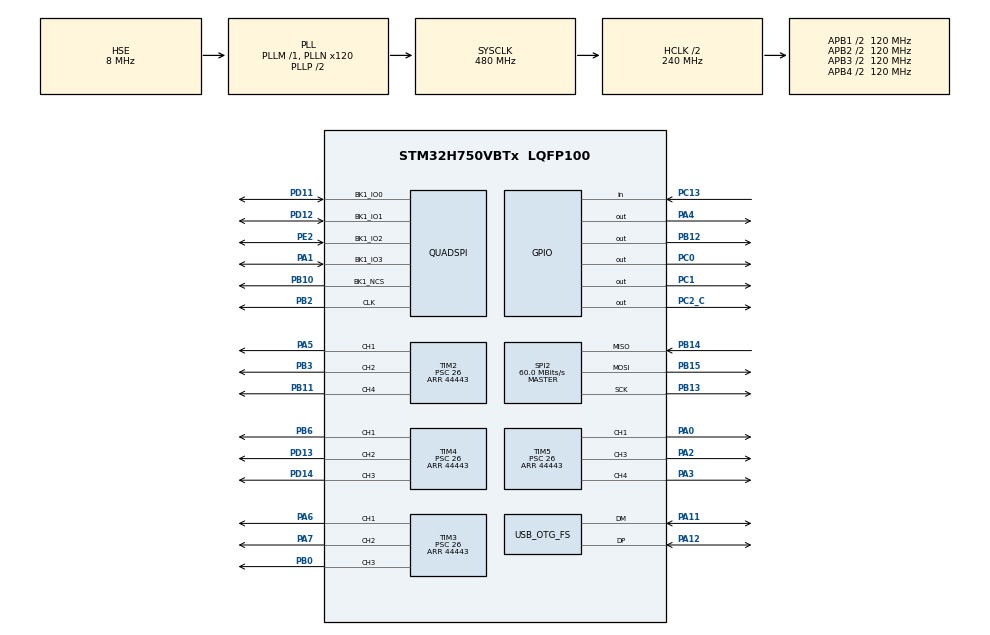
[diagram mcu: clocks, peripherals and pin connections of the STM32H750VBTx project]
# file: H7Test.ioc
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Mcu.Family=STM32H7
VP_TIM5_VS_ClockSourceINT.Mode=Internal
FREERTOS.Queues01=portRawDataRx,2048,uint8_t,0,Static,portRawDataRxBuffer,portRawDataRxControlBlock;cmdPacketRx,16,64,1,Static,cmdPacketRxBuffer,cmdPacketRxControlBlock;cmdPacketTx,16,64,1,Static,cmdPacketTxBuffer,cmdPacketTxControlBlock;portRawDataTx,2048,uint8_t,0,Static,portRawDataTxBuffer,portRawDataTxControlBlock;cmdPacketRxInstant,16,64,1,Static,cmdPacketRxInstantBuffer,cmdPacketRxInstantControlBlock
USB_DEVICE.CLASS_NAME_FS=CDC
VP_SYS_VS_tim6.Mode=TIM6
RCC.CortexFreq_Value=480000000
SPI2.VirtualType=VM_MASTER
PB10.Mode=Single Bank 1
RCC.HPRE=RCC_HCLK_DIV2
NVIC.TIM6_DAC_IRQn=true\:0\:0\:false\:false\:true\:false\:false\:true
PH0-OSC_IN\ (PH0).Signal=RCC_OSC_IN
PA11.Mode=Device_Only
USB_DEVICE.VirtualMode-CDC_FS=Cdc
TIM5.OCPolarity_3=TIM_OCPOLARITY_LOW
TIM5.OCPolarity_4=TIM_OCPOLARITY_LOW
TIM2.Channel-PWM\ Generation2\ CH2=TIM_CHANNEL_2
PB11.Signal=S_TIM2_CH4
PB13.Signal=SPI2_SCK
PB15.Signal=SPI2_MOSI
RCC.SYSCLKSource=RCC_SYSCLKSOURCE_PLLCLK
ProjectManager.StackSize=0x800
TIM5.OCPolarity_1=TIM_OCPOLARITY_LOW
VP_FREERTOS_VS_CMSIS_V2.Mode=CMSIS_V2
PD13.Signal=S_TIM4_CH2
PA14\ (JTCK/SWCLK).Signal=DEBUG_JTCK-SWCLK
PA12.Signal=USB_OTG_FS_DP
SPI2.CLKPolarity=SPI_POLARITY_HIGH
NVIC.TIM5_IRQn=true\:5\:0\:false\:false\:true\:true\:true\:true
RCC.HCLKFreq_Value=240000000
PE2.Mode=Single Bank 1
TIM3.Period=44443
PB6.Signal=S_TIM4_CH1
SH.S_TIM5_CH3.0=TIM5_CH3,PWM Generation3 CH3
PC2_C.Signal=GPIO_Output
SPI2.BaudRatePrescaler=SPI_BAUDRATEPRESCALER_8
TIM3.Channel-PWM\ Generation1\ CH1=TIM_CHANNEL_1
PH1-OSC_OUT\ (PH1).Mode=HSE-External-Oscillator
RCC.HSE_VALUE=8000000
TIM4.Channel-PWM\ Generation3\ CH3=TIM_CHANNEL_3
PB2.Signal=QUADSPI_CLK
RCC.DIVM3=1
RCC.DIVM2=10
RCC.DIVM1=1
TIM5.Channel-PWM\ Generation4\ CH4=TIM_CHANNEL_4
PB14.Mode=Full_Duplex_Master
TIM3.Prescaler=26
NVIC.TIM2_IRQn=true\:5\:0\:false\:false\:true\:true\:true\:true
PC13.GPIO_PuPd=GPIO_PULLUP
SPI2.CalculateBaudRate=60.0 MBits/s
SH.S_TIM4_CH2.0=TIM4_CH2,PWM Generation2 CH2
PE2.Signal=QUADSPI_BK1_IO2
PA14\ (JTCK/SWCLK).Mode=Serial_Wire
TIM2.Channel-PWM\ Generation1\ CH1=TIM_CHANNEL_1
SH.S_TIM3_CH1.0=TIM3_CH1,PWM Generation1 CH1
TIM4.Period=44443
PA0.Signal=S_TIM5_CH1
RCC.APB3Freq_Value=120000000
TIM3.OCPolarity_1=TIM_OCPOLARITY_LOW
TIM3.OCPolarity_2=TIM_OCPOLARITY_LOW
TIM3.OCPolarity_3=TIM_OCPOLARITY_LOW
Mcu.Package=LQFP100
TIM2.Prescaler=26
PA6.Signal=S_TIM3_CH1
NVIC.TimeBase=TIM6_DAC_IRQn
SPI2.Mode=SPI_MODE_MASTER
RCC.D1PPRE=RCC_APB3_DIV2
PD12.Signal=QUADSPI_BK1_IO1
NVIC.OTG_FS_IRQn=true\:5\:0\:false\:false\:true\:true\:false\:true
NVIC.TimeBaseIP=TIM6
USB_OTG_FS.VirtualMode=Device_Only
SPI2.CLKPhase=SPI_PHASE_2EDGE
TIM2.Pulse-PWM\ Generation2\ CH2=1347
SH.S_TIM4_CH1.0=TIM4_CH1,PWM Generation1 CH1
RCC.APB4Freq_Value=120000000
SH.S_TIM5_CH1.0=TIM5_CH1,PWM Generation1 CH1
SPI2.Direction=SPI_DIRECTION_2LINES
PB13.Mode=Full_Duplex_Master
PH0-OSC_IN\ (PH0).Mode=HSE-External-Oscillator
VP_TIM3_VS_ClockSourceINT.Mode=Internal
PA3.Signal=S_TIM5_CH4
RCC.PLLSourceVirtual=RCC_PLLSOURCE_HSE
TIM4.Channel-PWM\ Generation1\ CH1=TIM_CHANNEL_1
TIM2.Channel-PWM\ Generation4\ CH4=TIM_CHANNEL_4
RCC.DIVQ3=20
SH.S_TIM2_CH1.0=TIM2_CH1,PWM Generation1 CH1
FREERTOS.Tasks01=commandTask,24,256,StartCommandTask,Default,NULL,Dynamic,NULL,NULL;AlgsTask,48,512,StartAlgsTask,Default,NULL,Dynamic,NULL,NULL;RawSendTask,40,512,StartRawSendTask,Default,NULL,Dynamic,NULL,NULL
PA13\ (JTMS/SWDIO).Mode=Serial_Wire
USB_DEVICE.VirtualModeFS=Cdc_FS
PC13.Signal=GPIO_Input
RCC.D2PPRE2=RCC_APB2_DIV2
RCC.D2PPRE1=RCC_APB1_DIV2
TIM5.Channel-PWM\ Generation3\ CH3=TIM_CHANNEL_3
TIM2.OCPolarity_4=TIM_OCPOLARITY_LOW
PC0.Signal=GPIO_Output
TIM2.OCPolarity_1=TIM_OCPOLARITY_LOW
TIM2.OCPolarity_2=TIM_OCPOLARITY_LOW
SH.S_TIM3_CH3.0=TIM3_CH3,PWM Generation3 CH3
PH1-OSC_OUT\ (PH1).Signal=RCC_OSC_OUT
TIM2.Pulse-PWM\ Generation1\ CH1=1347
FREERTOS.configUSE_IDLE_HOOK=1
TIM3.Channel-PWM\ Generation3\ CH3=TIM_CHANNEL_3
CRC.DefaultPolynomialUse=DEFAULT_POLYNOMIAL_DISABLE
SH.S_TIM2_CH2.0=TIM2_CH2,PWM Generation2 CH2
PB3\ (JTDO/TRACESWO).Signal=S_TIM2_CH2
ProjectManager.TargetToolchain=MDK-ARM V5
SPI2.CRCCalculation=SPI_CRCCALCULATION_DISABLE
SH.S_TIM4_CH3.0=TIM4_CH3,PWM Generation3 CH3
VP_USB_DEVICE_VS_USB_DEVICE_CDC_FS.Mode=CDC_FS
RCC.DIVN3=120
RCC.DIVN2=120
RCC.DIVN1=120
RCC.USBFreq_Value=48000000
TIM4.Prescaler=26
PA1.Signal=QUADSPI_BK1_IO3
PB10.Signal=QUADSPI_BK1_NCS
PB14.Signal=SPI2_MISO
RCC.USBCLockSelection=RCC_USBCLKSOURCE_PLL3
PA5.Signal=S_TIM2_CH1
SH.S_TIM3_CH2.0=TIM3_CH2,PWM Generation2 CH2
board=custom
PB15.Mode=Full_Duplex_Master
NVIC.TIM3_IRQn=true\:5\:0\:false\:false\:true\:true\:true\:true
TIM4.Channel-PWM\ Generation2\ CH2=TIM_CHANNEL_2
RCC.APB2Freq_Value=120000000
PA1.Mode=Single Bank 1
VP_TIM2_VS_ClockSourceINT.Mode=Internal
RCC.ADCFreq_Value=48000000
SH.S_TIM5_CH4.0=TIM5_CH4,PWM Generation4 CH4
TIM2.Period=44443
Mcu.Name=STM32H750VBTx
TIM4.OCPolarity_3=TIM_OCPOLARITY_LOW
PA2.Signal=S_TIM5_CH3
TIM4.OCPolarity_1=TIM_OCPOLARITY_LOW
TIM4.OCPolarity_2=TIM_OCPOLARITY_LOW
PD14.Signal=S_TIM4_CH3
PA4.Signal=GPIO_Output
RCC.SYSCLKFreq_VALUE=480000000
PD12.Mode=Single Bank 1
PA12.Mode=Device_Only
TIM5.Prescaler=26
PD11.Signal=QUADSPI_BK1_IO0
CRC.DefaultInitValueUse=DEFAULT_INIT_VALUE_DISABLE
PB2.Mode=Single Bank 1
PA11.Signal=USB_OTG_FS_DM
TIM5.Channel-PWM\ Generation1\ CH1=TIM_CHANNEL_1
ProjectManager.HeapSize=0x800
SH.S_TIM2_CH4.0=TIM2_CH4,PWM Generation4 CH4
PD11.Mode=Single Bank 1
VP_TIM4_VS_ClockSourceINT.Mode=Internal
FREERTOS.Mutexes01=portRawDataMutex,Dynamic,NULL
NVIC.PriorityGroup=NVIC_PRIORITYGROUP_4
TIM3.Channel-PWM\ Generation2\ CH2=TIM_CHANNEL_2
TIM2.AutoReloadPreload=TIM_AUTORELOAD_PRELOAD_DISABLE
RCC.D3PPRE=RCC_APB4_DIV2
TIM5.Period=44443
SPI2.DataSize=SPI_DATASIZE_8BIT
NVIC.TIM4_IRQn=true\:5\:0\:false\:false\:true\:true\:true\:true
RCC.APB1Freq_Value=120000000
VP_CRC_VS_CRC.Mode=CRC_Activate
PB0.Signal=S_TIM3_CH3
PC1.Signal=GPIO_Output
PB12.Signal=GPIO_Output
PA13\ (JTMS/SWDIO).Signal=DEBUG_JTMS-SWDIO
CRC.CRCLength=CRC_POLYLENGTH_16B
PA7.Signal=S_TIM3_CH2

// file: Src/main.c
/* USER CODE BEGIN Header */
/**
  ******************************************************************************
  * @file           : main.c
  * @brief          : Main program body
  ******************************************************************************
  * @attention
  *
  * <h2><center>&copy; Copyright (c) 2020 STMicroelectronics.
  * All rights reserved.</center></h2>
  *
  * This software component is licensed by ST under BSD 3-Clause license,
  * the "License"; You may not use this file except in compliance with the
  * License. You may obtain a copy of the License at:
  *                        opensource.org/licenses/BSD-3-Clause
  *
  ******************************************************************************
  */
/* USER CODE END Header */

#include "main.h"
#include "cmsis_os.h"
#include "crc.h"
#include "quadspi.h"
#include "spi.h"
#include "tim.h"
#include "usb_device.h"
#include "gpio.h"

/* USER CODE BEGIN Includes */
#include "w25qxx.h"
/* USER CODE END Includes */

/* USER CODE BEGIN PV */
uint8_t cdcSendBuffer[200] = {0};
/* USER CODE END PV */

void SystemClock_Config(void);
void MX_FREERTOS_Init(void);

/* USER CODE BEGIN 0 */
uint32_t angle2arr(float angle)
{
  float temp = angle/180.0*2000;
  temp += 500.0;
  return (uint32_t)(temp/1.1125);
}
/* USER CODE END 0 */

int main(void)
{
  /* USER CODE BEGIN 1 */
  #ifdef ON_QFLSH
  SCB->VTOR = QSPI_BASE;
  #endif
  uint32_t test1 = 0, test2 = 0;
  /* Enable I-Cache---------------------------------------------------------*/
  SCB_EnableICache();

  /* Enable D-Cache---------------------------------------------------------*/
  SCB_EnableDCache();

  /* USER CODE END 1 */

  /* MCU Configuration--------------------------------------------------------*/

  /* Reset of all peripherals, Initializes the Flash interface and the Systick. */
  HAL_Init();

  /* Configure the system clock */
  SystemClock_Config();

  /* Initialize all configured peripherals */
  MX_GPIO_Init();
  MX_TIM2_Init();
  MX_CRC_Init();
  MX_SPI2_Init();
  MX_TIM3_Init();
  MX_TIM4_Init();
  MX_TIM5_Init();
  // MX_QUADSPI_Init();
  /* USER CODE BEGIN 2 */
  W25QXX_Init();
  W25QXX_Write_Enable();
  W25QXX_Read((uint8_t*)&test1, 4096, sizeof(test1));
  test2 = 0xABCDEF12;
  W25QXX_Write((uint8_t*)&test2, 4096, sizeof(test2));
  W25QXX_Read((uint8_t*)&test1, 4096, sizeof(test1));
  /* USER CODE END 2 */

  /* Init scheduler */
  osKernelInitialize();  /* Call init function for freertos objects (in freertos.c) */
  MX_FREERTOS_Init();
  /* Start scheduler */
  osKernelStart();

  /* We should never get here as control is now taken by the scheduler */
  /* Infinite loop */
  while (1)
  {

  }
}

void SystemClock_Config(void)
{
  RCC_OscInitTypeDef RCC_OscInitStruct = {0};
  RCC_ClkInitTypeDef RCC_ClkInitStruct = {0};
  RCC_PeriphCLKInitTypeDef PeriphClkInitStruct = {0};

  /** Supply configuration update enable
  */
  HAL_PWREx_ConfigSupply(PWR_LDO_SUPPLY);
  /** Configure the main internal regulator output voltage
  */
  __HAL_PWR_VOLTAGESCALING_CONFIG(PWR_REGULATOR_VOLTAGE_SCALE0);

  while(!__HAL_PWR_GET_FLAG(PWR_FLAG_VOSRDY)) {}
  /** Macro to configure the PLL clock source
  */
  __HAL_RCC_PLL_PLLSOURCE_CONFIG(RCC_PLLSOURCE_HSE);
  /** Initializes the CPU, AHB and APB busses clocks
  */
  RCC_OscInitStruct.OscillatorType = RCC_OSCILLATORTYPE_HSE;
  RCC_OscInitStruct.HSEState = RCC_HSE_ON;
  RCC_OscInitStruct.PLL.PLLState = RCC_PLL_ON;
  RCC_OscInitStruct.PLL.PLLSource = RCC_PLLSOURCE_HSE;
  RCC_OscInitStruct.PLL.PLLM = 1;
  RCC_OscInitStruct.PLL.PLLN = 120;
  RCC_OscInitStruct.PLL.PLLP = 2;
  RCC_OscInitStruct.PLL.PLLQ = 2;
  RCC_OscInitStruct.PLL.PLLR = 2;
  RCC_OscInitStruct.PLL.PLLRGE = RCC_PLL1VCIRANGE_3;
  RCC_OscInitStruct.PLL.PLLVCOSEL = RCC_PLL1VCOWIDE;
  RCC_OscInitStruct.PLL.PLLFRACN = 0;
  if (HAL_RCC_OscConfig(&RCC_OscInitStruct) != HAL_OK)
  {
    Error_Handler();
  }
  /** Initializes the CPU, AHB and APB busses clocks
  */
  RCC_ClkInitStruct.ClockType = RCC_CLOCKTYPE_HCLK|RCC_CLOCKTYPE_SYSCLK
                              |RCC_CLOCKTYPE_PCLK1|RCC_CLOCKTYPE_PCLK2
                              |RCC_CLOCKTYPE_D3PCLK1|RCC_CLOCKTYPE_D1PCLK1;
  RCC_ClkInitStruct.SYSCLKSource = RCC_SYSCLKSOURCE_PLLCLK;
  RCC_ClkInitStruct.SYSCLKDivider = RCC_SYSCLK_DIV1;
  RCC_ClkInitStruct.AHBCLKDivider = RCC_HCLK_DIV2;
  RCC_ClkInitStruct.APB3CLKDivider = RCC_APB3_DIV2;
  RCC_ClkInitStruct.APB1CLKDivider = RCC_APB1_DIV2;
  RCC_ClkInitStruct.APB2CLKDivider = RCC_APB2_DIV2;
  RCC_ClkInitStruct.APB4CLKDivider = RCC_APB4_DIV2;

  if (HAL_RCC_ClockConfig(&RCC_ClkInitStruct, FLASH_LATENCY_4) != HAL_OK)
  {
    Error_Handler();
  }
  PeriphClkInitStruct.PeriphClockSelection = RCC_PERIPHCLK_SPI2|RCC_PERIPHCLK_USB
                              |RCC_PERIPHCLK_QSPI;
  PeriphClkInitStruct.PLL3.PLL3M = 1;
  PeriphClkInitStruct.PLL3.PLL3N = 120;
  PeriphClkInitStruct.PLL3.PLL3P = 2;
  PeriphClkInitStruct.PLL3.PLL3Q = 20;
  PeriphClkInitStruct.PLL3.PLL3R = 2;
  PeriphClkInitStruct.PLL3.PLL3RGE = RCC_PLL3VCIRANGE_3;
  PeriphClkInitStruct.PLL3.PLL3VCOSEL = RCC_PLL3VCOWIDE;
  PeriphClkInitStruct.PLL3.PLL3FRACN = 0;
  PeriphClkInitStruct.QspiClockSelection = RCC_QSPICLKSOURCE_D1HCLK;
  PeriphClkInitStruct.Spi123ClockSelection = RCC_SPI123CLKSOURCE_PLL;
  PeriphClkInitStruct.UsbClockSelection = RCC_USBCLKSOURCE_PLL3;
  if (HAL_RCCEx_PeriphCLKConfig(&PeriphClkInitStruct) != HAL_OK)
  {
    Error_Handler();
  }
  /** Enable USB Voltage detector
  */
  HAL_PWREx_EnableUSBVoltageDetector();
}

 /**
  * @brief  Period elapsed callback in non blocking mode
  * @note   This function is called  when TIM6 interrupt took place, inside
  * HAL_TIM_IRQHandler(). It makes a direct call to HAL_IncTick() to increment
  * a global variable "uwTick" used as application time base.
  * @param  htim : TIM handle
  * @retval None
  */
void HAL_TIM_PeriodElapsedCallback(TIM_HandleTypeDef *htim)
{
  if (htim->Instance == TIM6) {
    HAL_IncTick();
  }
  /* USER CODE BEGIN Callback 1 */
  else if(htim->Instance == TIM2)
  {
    jointServoOutput(0);
  }
  else if(htim->Instance == TIM3)
  {
    jointServoOutput(1);
  }
  else if(htim->Instance == TIM4)
  {
    jointServoOutput(2);
  }
  else if(htim->Instance == TIM5)
  {
    jointServoOutput(3);
  }
  /* USER CODE END Callback 1 */
}

void Error_Handler(void)
{
}

/************************ (C) COPYRIGHT STMicroelectronics *****END OF FILE****/

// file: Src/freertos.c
/* USER CODE BEGIN Header */
/**
  ******************************************************************************
  * File Name          : freertos.c
  * Description        : Code for freertos applications
  ******************************************************************************
  * @attention
  *
  * <h2><center>&copy; Copyright (c) 2020 STMicroelectronics.
  * All rights reserved.</center></h2>
  *
  * This software component is licensed by ST under Ultimate Liberty license
  * SLA0044, the "License"; You may not use this file except in compliance with
  * the License. You may obtain a copy of the License at:
  *                             www.st.com/SLA0044
  *
  ******************************************************************************
  */
/* USER CODE END Header */

#include "FreeRTOS.h"
#include "task.h"
#include "main.h"
#include "cmsis_os.h"

/* USER CODE BEGIN Includes */
#include "cmsis_os2.h"
#include "command.h"
#include "usbd_cdc_if.h"
/* USER CODE END Includes */

typedef StaticQueue_t osStaticMessageQDef_t;

/* Definitions for commandTask */
osThreadId_t commandTaskHandle;
const osThreadAttr_t commandTask_attributes = {
  .name = "commandTask",
  .priority = (osPriority_t) osPriorityNormal,
  .stack_size = 256 * 4
};
/* Definitions for AlgsTask */
osThreadId_t AlgsTaskHandle;
const osThreadAttr_t AlgsTask_attributes = {
  .name = "AlgsTask",
  .priority = (osPriority_t) osPriorityRealtime,
  .stack_size = 512 * 4
};
/* Definitions for RawSendTask */
osThreadId_t RawSendTaskHandle;
const osThreadAttr_t RawSendTask_attributes = {
  .name = "RawSendTask",
  .priority = (osPriority_t) osPriorityHigh,
  .stack_size = 512 * 4
};
/* Definitions for portRawDataRx */
osMessageQueueId_t portRawDataRxHandle;
uint8_t portRawDataRxBuffer[ 2048 * sizeof( uint8_t ) ];
osStaticMessageQDef_t portRawDataRxControlBlock;
const osMessageQueueAttr_t portRawDataRx_attributes = {
  .name = "portRawDataRx",
  .cb_mem = &portRawDataRxControlBlock,
  .cb_size = sizeof(portRawDataRxControlBlock),
  .mq_mem = &portRawDataRxBuffer,
  .mq_size = sizeof(portRawDataRxBuffer)
};
/* Definitions for cmdPacketRx */
osMessageQueueId_t cmdPacketRxHandle;
uint8_t cmdPacketRxBuffer[ 16 * 64 ];
osStaticMessageQDef_t cmdPacketRxControlBlock;
const osMessageQueueAttr_t cmdPacketRx_attributes = {
  .name = "cmdPacketRx",
  .cb_mem = &cmdPacketRxControlBlock,
  .cb_size = sizeof(cmdPacketRxControlBlock),
  .mq_mem = &cmdPacketRxBuffer,
  .mq_size = sizeof(cmdPacketRxBuffer)
};
/* Definitions for cmdPacketTx */
osMessageQueueId_t cmdPacketTxHandle;
uint8_t cmdPacketTxBuffer[ 16 * 64 ];
osStaticMessageQDef_t cmdPacketTxControlBlock;
const osMessageQueueAttr_t cmdPacketTx_attributes = {
  .name = "cmdPacketTx",
  .cb_mem = &cmdPacketTxControlBlock,
  .cb_size = sizeof(cmdPacketTxControlBlock),
  .mq_mem = &cmdPacketTxBuffer,
  .mq_size = sizeof(cmdPacketTxBuffer)
};
/* Definitions for portRawDataTx */
osMessageQueueId_t portRawDataTxHandle;
uint8_t portRawDataTxBuffer[ 2048 * sizeof( uint8_t ) ];
osStaticMessageQDef_t portRawDataTxControlBlock;
const osMessageQueueAttr_t portRawDataTx_attributes = {
  .name = "portRawDataTx",
  .cb_mem = &portRawDataTxControlBlock,
  .cb_size = sizeof(portRawDataTxControlBlock),
  .mq_mem = &portRawDataTxBuffer,
  .mq_size = sizeof(portRawDataTxBuffer)
};
/* Definitions for cmdPacketRxInstant */
osMessageQueueId_t cmdPacketRxInstantHandle;
uint8_t cmdPacketRxInstantBuffer[ 16 * 64 ];
osStaticMessageQDef_t cmdPacketRxInstantControlBlock;
const osMessageQueueAttr_t cmdPacketRxInstant_attributes = {
  .name = "cmdPacketRxInstant",
  .cb_mem = &cmdPacketRxInstantControlBlock,
  .cb_size = sizeof(cmdPacketRxInstantControlBlock),
  .mq_mem = &cmdPacketRxInstantBuffer,
  .mq_size = sizeof(cmdPacketRxInstantBuffer)
};
/* Definitions for portRawDataMutex */
osMutexId_t portRawDataMutexHandle;
const osMutexAttr_t portRawDataMutex_attributes = {
  .name = "portRawDataMutex"
};

void StartCommandTask(void *argument);
void StartAlgsTask(void *argument);
void StartRawSendTask(void *argument);

extern void MX_USB_DEVICE_Init(void);
void MX_FREERTOS_Init(void); /* (MISRA C 2004 rule 8.1) */

/* Hook prototypes */
void vApplicationIdleHook(void);

/* USER CODE BEGIN 2 */
void vApplicationIdleHook( void )
{
   /* vApplicationIdleHook() will only be called if configUSE_IDLE_HOOK is set
   to 1 in FreeRTOSConfig.h. It will be called on each iteration of the idle
   task. It is essential that code added to this hook function never attempts
   to block in any way (for example, call xQueueReceive() with a block time
   specified, or call vTaskDelay()). If the application makes use of the
   vTaskDelete() API function (as this demo application does) then it is also
   important that vApplicationIdleHook() is permitted to return to its calling
   function, because it is the responsibility of the idle task to clean up
   memory allocated by the kernel to any task that has since been deleted. */
}
/* USER CODE END 2 */

void MX_FREERTOS_Init(void) {
  /* Create the mutex(es) */
  /* creation of portRawDataMutex */
  portRawDataMutexHandle = osMutexNew(&portRawDataMutex_attributes);

  /* Create the queue(s) */
  /* creation of portRawDataRx */
  portRawDataRxHandle = osMessageQueueNew (2048, sizeof(uint8_t), &portRawDataRx_attributes);

  /* creation of cmdPacketRx */
  cmdPacketRxHandle = osMessageQueueNew (16, 64, &cmdPacketRx_attributes);

  /* creation of cmdPacketTx */
  cmdPacketTxHandle = osMessageQueueNew (16, 64, &cmdPacketTx_attributes);

  /* creation of portRawDataTx */
  portRawDataTxHandle = osMessageQueueNew (2048, sizeof(uint8_t), &portRawDataTx_attributes);

  /* creation of cmdPacketRxInstant */
  cmdPacketRxInstantHandle = osMessageQueueNew (16, 64, &cmdPacketRxInstant_attributes);

  /* Create the thread(s) */
  /* creation of commandTask */
  commandTaskHandle = osThreadNew(StartCommandTask, NULL, &commandTask_attributes);

  /* creation of AlgsTask */
  AlgsTaskHandle = osThreadNew(StartAlgsTask, NULL, &AlgsTask_attributes);

  /* creation of RawSendTask */
  RawSendTaskHandle = osThreadNew(StartRawSendTask, NULL, &RawSendTask_attributes);

}

void StartCommandTask(void *argument)
{
  /* init code for USB_DEVICE */
  MX_USB_DEVICE_Init();
  /* USER CODE BEGIN StartCommandTask */
  MX_USB_DEVICE_Init();
  osDelay(1000);

  /* Infinite loop */
  for(;;)
  {
    osDelay(20);
    ProtocolReadPacket();
    commandExc();
    ProtocolWritePacket();
  }
  /* USER CODE END StartCommandTask */
}

void StartAlgsTask(void *argument)
{
  /* USER CODE BEGIN StartAlgsTask */
  uint8_t ledCount = 0;
  jointParamInit();
  /* Infinite loop */
  for(;;)
  {
    osDelay(10);
    algsProfile();

    hhtKeyCheck();

    ledCount++;
    if(ledCount >= 25)
    {
      ledStatusCheck();
      ledCount = 0;
    }
  }
  /* USER CODE END StartAlgsTask */
}

void StartRawSendTask(void *argument)
{
  /* USER CODE BEGIN StartRawSendTask */
  /* Infinite loop */
  for(;;)
  {
    osDelay(10);
    protocolRawDataSend();
  }
  /* USER CODE END StartRawSendTask */
}

/************************ (C) COPYRIGHT STMicroelectronics *****END OF FILE****/
